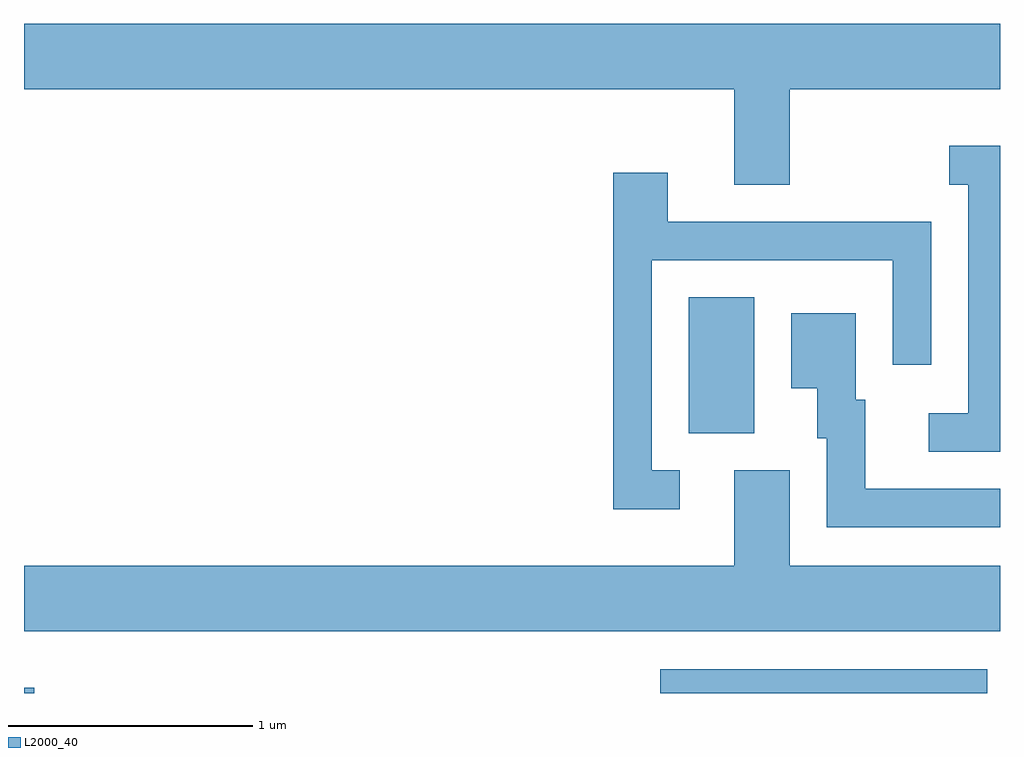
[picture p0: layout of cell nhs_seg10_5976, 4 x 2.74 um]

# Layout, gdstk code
import gdstk
lib = gdstk.Library(unit=1e-6, precision=1e-09)
def R(c, l, rs):  # rectangles x0, y0, x1, y1
    for r in rs: c.add(gdstk.rectangle(r[:2], r[2:], *l))
def P(c, l, *ps):  # polygons
    for p in ps: c.add(gdstk.Polygon(p, *l))
L2000_40 = (2000, 40)

nhs_seg10_5976 = lib.new_cell('nhs_seg10_5976')
R(nhs_seg10_5976, L2000_40, [(361.611,2142.522,361.654,2142.544), (364.218,2142.522,365.559,2142.619), (364.336,2143.586,364.604,2144.144)])
P(nhs_seg10_5976, L2000_40, [(364.749,2144.996),(365.611,2144.996),(365.611,2145.264),(361.611,2145.264),(361.611,2144.996),(364.521,2144.996),(364.521,2144.606),(364.749,2144.606)],
  [(365.611,2144.764),(365.403,2144.764),(365.403,2144.606),(365.481,2144.606),(365.481,2143.669),(365.318,2143.669),(365.318,2143.511),(365.611,2143.511)],
  [(364.298,2143.434),(364.184,2143.434),(364.184,2144.296),(365.171,2144.296),(365.171,2143.868),(365.329,2143.868),(365.329,2144.454),(364.249,2144.454),(364.249,2144.654),(364.026,2144.654),(364.026,2143.276),(364.298,2143.276)],
  [(365.611,2143.359),(365.059,2143.359),(365.059,2143.724),(365.019,2143.724),(365.019,2144.079),(364.756,2144.079),(364.756,2143.771),(364.861,2143.771),(364.861,2143.566),(364.901,2143.566),(364.901,2143.201),(365.611,2143.201)],
  [(365.611,2143.044),(364.749,2143.044),(364.749,2143.434),(364.521,2143.434),(364.521,2143.044),(361.611,2143.044),(361.611,2142.776),(365.611,2142.776)])

lib.write_gds('nhs_seg10_5976.gds')
